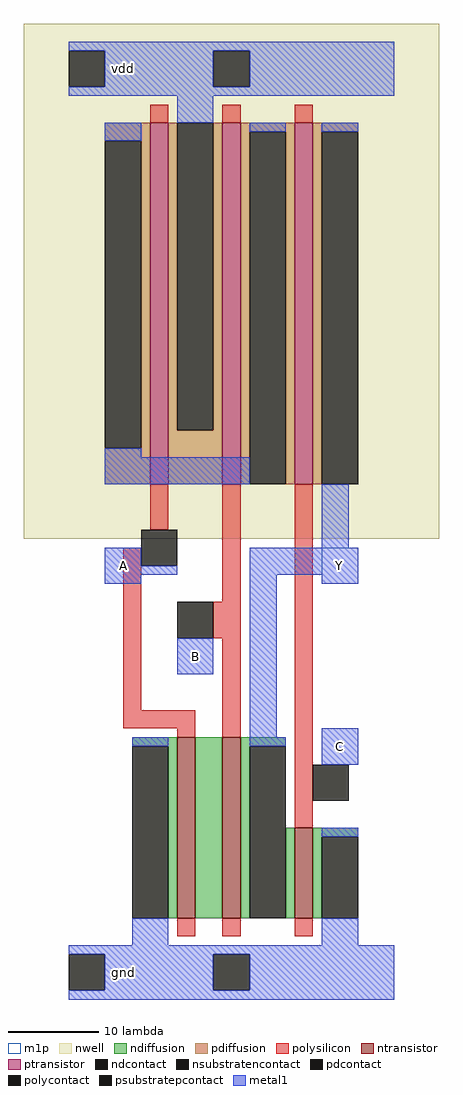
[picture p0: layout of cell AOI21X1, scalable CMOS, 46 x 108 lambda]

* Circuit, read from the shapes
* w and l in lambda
.subckt AOI21X1 A B C Y gnd vdd
M1 n1 A gnd gnd nfet w=20 l=2
M2 Y B n1 gnd nfet w=20 l=2
M3 gnd C Y gnd nfet w=10 l=2
M4 vdd A n2 vdd pfet w=40 l=2
M5 n2 B vdd vdd pfet w=40 l=2
M6 Y C n2 vdd pfet w=40 l=2
.ends

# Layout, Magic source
magic
tech scmos
<< nwell >>
rect -7 48 39 105
<< ntransistor >>
rect 10 6 12 26
rect 15 6 17 26
rect 23 6 25 16
<< ptransistor >>
rect 7 54 9 94
rect 15 54 17 94
rect 23 54 25 94
<< ndiffusion >>
rect 5 25 10 26
rect 9 6 10 25
rect 12 6 15 26
rect 17 25 22 26
rect 17 6 18 25
rect 22 6 23 16
rect 25 15 30 16
rect 25 6 26 15
<< pdiffusion >>
rect 2 92 7 94
rect 6 58 7 92
rect 2 54 7 58
rect 9 60 10 94
rect 14 60 15 94
rect 9 54 15 60
rect 17 93 23 94
rect 17 54 18 93
rect 22 54 23 93
rect 25 93 30 94
rect 25 54 26 93
<< ndcontact >>
rect 5 6 9 25
rect 18 6 22 25
rect 26 6 30 15
<< pdcontact >>
rect 2 58 6 92
rect 10 60 14 94
rect 18 54 22 93
rect 26 54 30 93
<< psubstratepcontact >>
rect -2 -2 2 2
rect 14 -2 18 2
<< nsubstratencontact >>
rect -2 98 2 102
rect 14 98 18 102
<< polysilicon >>
rect 7 94 9 96
rect 15 94 17 96
rect 23 94 25 96
rect 7 49 9 54
rect 4 29 6 47
rect 15 41 17 54
rect 14 37 17 41
rect 4 27 12 29
rect 10 26 12 27
rect 15 26 17 37
rect 23 16 25 54
rect 10 4 12 6
rect 15 4 17 6
rect 23 4 25 6
<< polycontact >>
rect 6 45 10 49
rect 10 37 14 41
rect 25 19 29 23
<< metal1 >>
rect -2 102 34 103
rect 2 98 14 102
rect 18 98 34 102
rect -2 97 34 98
rect 10 94 14 97
rect 2 92 6 94
rect 18 93 22 94
rect 2 57 6 58
rect 2 54 18 57
rect 26 93 30 94
rect 2 45 6 47
rect 26 47 29 54
rect 2 44 10 45
rect 18 44 30 47
rect 2 43 6 44
rect 10 33 14 37
rect 18 26 21 44
rect 26 43 30 44
rect 5 25 9 26
rect 18 25 22 26
rect 26 23 30 27
rect 26 15 30 16
rect 5 3 9 6
rect 26 3 30 6
rect -2 2 34 3
rect 2 -2 14 2
rect 18 -2 34 2
rect -2 -3 34 -2
<< m1p >>
rect 2 43 6 47
rect 26 43 30 47
rect 10 33 14 37
rect 26 23 30 27
<< labels >>
rlabel metal1 4 0 4 0 4 gnd
rlabel metal1 4 100 4 100 4 vdd
rlabel metal1 4 45 4 45 4 A
rlabel metal1 12 35 12 35 4 B
rlabel metal1 28 45 28 45 4 Y
rlabel metal1 28 25 28 25 4 C
<< end >>
